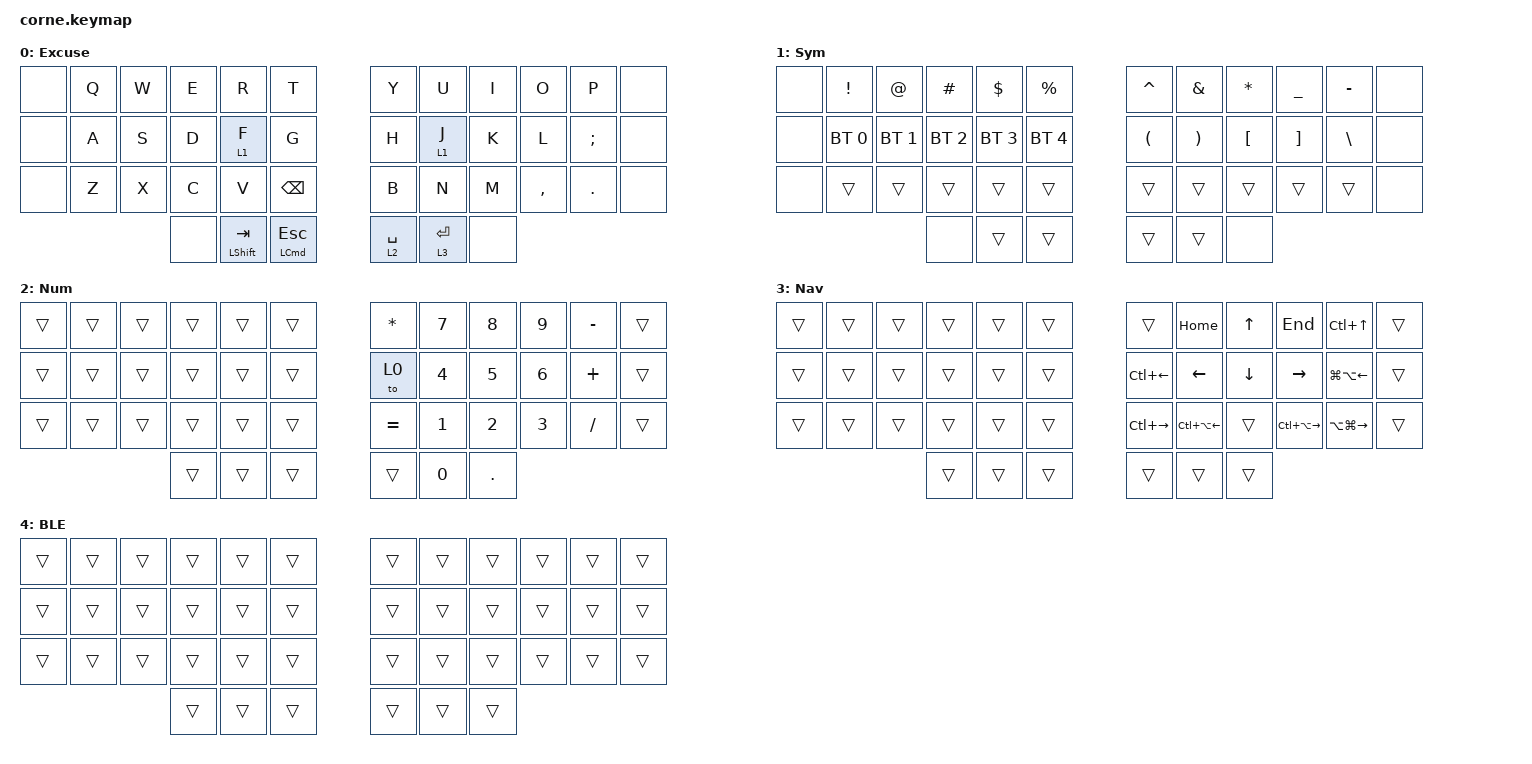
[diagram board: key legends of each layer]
/*
 * Copyright (c) 2020 The ZMK Contributors
 *
 * SPDX-License-Identifier: MIT
 */

#include <behaviors.dtsi>
#include <dt-bindings/zmk/bt.h>
#include <dt-bindings/zmk/keys.h>

/ {
    combos {
        compatible = "zmk,combos";

        slash {
            bindings = <&kp SLASH>;
            key-positions = <34 33>;
        };

        question {
            bindings = <&kp QUESTION>;
            key-positions = <33 32>;
        };

        grave {
            bindings = <&kp GRAVE>;
            key-positions = <6 7>;
        };

        tilde {
            bindings = <&kp TILDE>;
            key-positions = <7 8>;
        };

        colon {
            bindings = <&kp COLON>;
            key-positions = <18 19>;
        };

        semicolon {
            bindings = <&kp SEMICOLON>;
            key-positions = <19 20>;
        };

        missioncontrol {
            bindings = <&kp LC(UP_ARROW)>;
            key-positions = <14 15 16>;
        };

        leftdesktop {
            bindings = <&kp LC(LEFT_ARROW)>;
            key-positions = <13 14 15>;
        };

        rightdesktop {
            bindings = <&kp LC(RIGHT)>;
            key-positions = <17 16 15>;
        };
    };

    behaviors {
        pmsv_hold: pmsv_hold {
            compatible = "zmk,behavior-hold-tap";
            label = "PMSV_HOLD";
            #binding-cells = <2>;
            flavor = "balanced";
            tapping-term-ms = <200>;
            bindings = <&mt>, <&kp>;
        };

        balance: balance_layer {
            compatible = "zmk,behavior-hold-tap";
            label = "BALANCE LAYER";
            #binding-cells = <2>;
            flavor = "balanced";
            tapping-term-ms = <200>;
            bindings = <&mo>, <&kp>;
        };
    };

    keymap {
        compatible = "zmk,keymap";

        default_layer {
            // -----------------------------------------------------------------------------------------
            // |  TAB |  Q  |  W  |  E  |  R  |  T  |   |  Y  |  U   |  I  |  O  |  P  | BKSP |
            // | CTRL |  A  |  S  |  D  |  F  |  G  |   |  H  |  J   |  K  |  L  |  ;  |  '   |
            // | SHFT |  Z  |  X  |  C  |  V  |  B  |   |  N  |  M   |  ,  |  .  |  /  | ESC  |
            //                    | GUI | LWR | SPC |   | ENT | RSE  | ALT |

            display-name = "Excuse";
            bindings = <
&none  &kp Q  &kp W  &kp E  &kp R                  &kp T                             &kp Y             &kp U             &kp I  &kp O      &kp P       &none
&none  &kp A  &kp S  &kp D  &balance 1 F           &kp G                             &kp H             &balance 1 J      &kp K  &kp L      &kp SEMI    &none
&none  &kp Z  &kp X  &kp C  &kp V                  &kp BACKSPACE                     &kp B             &kp N             &kp M  &kp COMMA  &kp PERIOD  &none
                     &none  &pmsv_hold LSHIFT TAB  &pmsv_hold LEFT_COMMAND ESCAPE    &balance 2 SPACE  &balance 3 ENTER  &none
            >;
        };

        layer_1 {
            // -----------------------------------------------------------------------------------------
            // |  TAB |  1  |  2  |  3  |  4  |  5  |   |  6  |  7  |  8  |  9  |  0  | BKSP |
            // | BTCLR| BT1 | BT2 | BT3 | BT4 | BT5 |   | LFT | DWN |  UP | RGT |     |      |
            // | SHFT |     |     |     |     |     |   |     |     |     |     |     |      |
            //                    | GUI |     | SPC |   | ENT |     | ALT |

            display-name = "Sym";
            bindings = <
&none  &kp EXCLAMATION  &kp AT_SIGN   &kp HASH      &kp DOLLAR    &kp PERCENT     &kp CARET             &kp AMPERSAND          &kp ASTERISK      &kp UNDERSCORE     &kp MINUS      &none
&none  &bt BT_SEL 0     &bt BT_SEL 1  &bt BT_SEL 2  &bt BT_SEL 3  &bt BT_SEL 4    &kp LEFT_PARENTHESIS  &kp RIGHT_PARENTHESIS  &kp LEFT_BRACKET  &kp RIGHT_BRACKET  &kp BACKSLASH  &none
&none  &trans           &trans        &trans        &trans        &trans          &trans                &trans                 &trans            &trans             &trans         &none
                                      &none         &trans        &trans          &trans                &trans                 &none
            >;
        };

        layer_2 {
            bindings = <
&trans  &trans  &trans  &trans  &trans  &trans    &kp ASTERISK  &kp N7        &kp N8        &kp N9        &kp MINUS  &trans
&trans  &trans  &trans  &trans  &trans  &trans    &to 0         &kp NUMBER_4  &kp N5        &kp NUMBER_6  &kp PLUS   &trans
&trans  &trans  &trans  &trans  &trans  &trans    &kp EQUAL     &kp NUMBER_1  &kp NUMBER_2  &kp NUMBER_3  &kp SLASH  &trans
                        &trans  &trans  &trans    &trans        &kp N0        &kp PERIOD
            >;

            label = "Num";
        };

        layer_3 {
            bindings = <
&trans  &trans  &trans  &trans  &trans  &trans    &trans              &kp HOME                &kp UP_ARROW  &kp END            &kp LC(UP_ARROW)   &trans
&trans  &trans  &trans  &trans  &trans  &trans    &kp LC(LEFT_ARROW)  &kp LEFT_ARROW          &kp DOWN      &kp RIGHT          &kp LG(LA(LEFT))   &trans
&trans  &trans  &trans  &trans  &trans  &trans    &kp LC(RIGHT)       &kp LC(LA(LEFT_ARROW))  &trans        &kp LC(LA(RIGHT))  &kp LA(LG(RIGHT))  &trans
                        &trans  &trans  &trans    &trans              &trans                  &trans
            >;

            label = "Nav";
        };

        layer_4 {
            bindings = <
&trans  &trans  &trans  &trans  &trans  &trans    &trans  &trans  &trans  &trans  &trans  &trans
&trans  &trans  &trans  &trans  &trans  &trans    &trans  &trans  &trans  &trans  &trans  &trans
&trans  &trans  &trans  &trans  &trans  &trans    &trans  &trans  &trans  &trans  &trans  &trans
                        &trans  &trans  &trans    &trans  &trans  &trans
            >;

            label = "BLE";
        };

        extra_1 { status = "reserved"; };

        extra_2 { status = "reserved"; };

        extra_3 { status = "reserved"; };
    };
};
